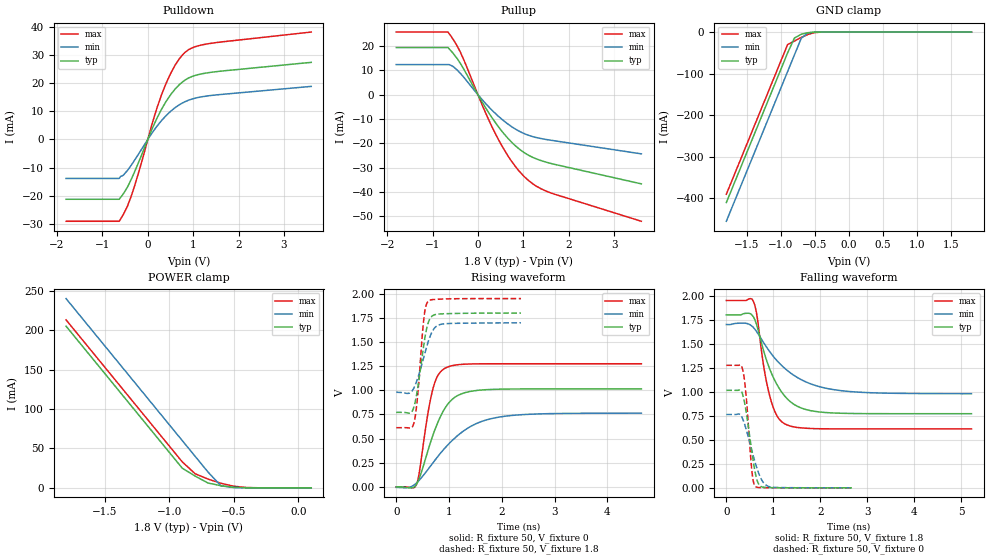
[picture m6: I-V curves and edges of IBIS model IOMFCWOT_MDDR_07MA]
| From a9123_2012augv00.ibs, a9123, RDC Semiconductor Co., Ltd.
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[Model]   IOMFCWOT_MDDR_07MA
|   IOMFCWOT_MDDR_07MA  MODEL
|   DATE   :  2009/1/14 ;
|   REVISION :  0.1.1 ;
|   Model generated   Wed Jan 14 11:39:08 2009
Model_type  3-state
Polarity   Non-Inverting
Enable   Active-Low
| Signals
Vmeas = 0.9
| variable   typ   min   max
C_comp   1.282pF   1.197pF   1.399pF
[Model Spec]
|   Subparameter   typ   min   max
Vmeas   0.900   0.850   0.975
[Temperature Range]   25   125   -40
|   typ   min   max
[Voltage Range]   1.8V   1.7V   1.95V
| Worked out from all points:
|   slope of the pulldown table from 0 to 0.27 V, typ, clamps not added: 27.8 ohm
|   slope of the pullup table from 0 to 0.27 V, typ, clamps not added: 32.4 ohm
|   GND clamp passes 1 mA (typ) near -0.56 V on its own axis
|   POWER clamp passes 1 mA (typ) near -0.51 V on its own axis
|   rising waveform, R_fixture 50, V_fixture 0: 20-80 % time 415ps typ, 803ps min, 232ps max; typ from 0 V to 1.01 V
|   falling waveform, R_fixture 50, V_fixture 1.8: 20-80 % time 505ps typ, 865ps min, 285ps max; typ from 1.8 V to 0.772 V
|   rising waveform, R_fixture 50, V_fixture 1.8: 20-80 % time 167ps typ, 233ps min, 118ps max; typ from 0.772 V to 1.8 V
|   falling waveform, R_fixture 50, V_fixture 0: 20-80 % time 183ps typ, 266ps min, 120ps max; typ from 1.01 V to 0 V
[Pulldown]
|   Voltage   I(typ)   I(min)   I(max)
-1.8V     -21.3mA    -13.89mA   -29.13mA
-630mV    -21.3mA    -13.89mA   -29.13mA
-450mV    -17.02mA   -11.11mA   -23.83mA
-330mV    -12.96mA   -8.356mA   -18.52mA
120mV     4.665mA    2.896mA    6.911mA
300mV     10.67mA    6.664mA    15.76mA
420mV     13.92mA    8.735mA    20.55mA
600mV     17.89mA    11.29mA    26.38mA
810mV     21.01mA    13.35mA    30.83mA
990mV     22.48mA    14.45mA    32.66mA
1.32V     23.7mA     15.48mA    34.01mA
3.6V      27.42mA    18.87mA    38.2mA
[GND Clamp]
|   Voltage   I(typ)   I(min)   I(max)
-1.8V     -410mA     -455mA     -390mA
-900mV    -50mA      -95mA      -30mA
-800mV    -14.5mA    -55mA      -21.7mA
-700mV    -5.32mA    -15mA      -12.9mA
-600mV    -1.53mA    -2.04mA    -5.7mA
-500mV    -195uA     -140uA     -1.26mA
-400mV    -13.4uA    -9.78uA    -88.4uA
1.8V      0A         0A         0A
[Pullup]
|   Voltage   I(typ)   I(min)   I(max)
|( VDD-Vmeas )
-1.8V     19.39mA    12.38mA    25.75mA
-660mV    19.39mA    12.38mA    25.75mA
-540mV    16.86mA    11.5mA     22.55mA
-390mV    12.93mA    8.83mA     17.61mA
180mV     -5.682mA   -3.821mA   -7.937mA
510mV     -14.57mA   -9.807mA   -20.39mA
690mV     -18.49mA   -12.44mA   -25.93mA
900mV     -22.15mA   -14.9mA    -31.23mA
1.2V      -25.66mA   -17.17mA   -36.51mA
1.41V     -27.18mA   -18.08mA   -38.83mA
1.62V     -28.3mA    -18.74mA   -40.46mA
3.6V      -36.63mA   -24.3mA    -52mA
[POWER Clamp]
|   Voltage   I(typ)   I(min)   I(max)
|( VDD-Vmeas )
-1.8V     205mA      240mA      213mA
-900mV    25mA       60mA       33mA
-800mV    14.9mA     40mA       17.9mA
-700mV    6.09mA     20mA       11.1mA
-600mV    2.68mA     2.56mA     5.76mA
-500mV    731uA      316uA      2.06mA
-400mV    105uA      45.9uA     387uA
100mV     0A         0A         0A
[Rising Waveform]
R_fixture = 50
V_fixture = 0
V_fixture_min = 0
V_fixture_max = 0
C_fixture = 0
L_fixture = 0
|   Time   V(typ)   V(min)   V(max)
0s        147.8uV    -5.05mV    -3.182uV
378ps     21.47mV    37.27mV    17.81mV
432ps     82.05mV    66.8mV     130.7mV
594ps     362.6mV    175.3mV    739.7mV
702ps     545.6mV    253.5mV    1.028V
810ps     695mV      329.1mV    1.171V
945ps     832.9mV    415.6mV    1.235V
1.242ns   965mV      565.6mV    1.269V
1.917ns   1.011V     720mV      1.275V
4.644ns   1.015V     763.4mV    1.275V
[Falling Waveform]
R_fixture = 50
V_fixture = 1.8
V_fixture_min = 1.7
V_fixture_max = 1.95
C_fixture = 0
L_fixture = 0
|   Time   V(typ)   V(min)   V(max)
0s        1.8V       1.7V       1.95V
576ps     1.779V     1.669V     1.941V
640ps     1.705V     1.629V     1.827V
800ps     1.415V     1.506V     1.249V
928ps     1.231V     1.414V     948mV
1.088ns   1.066V     1.318V     740.5mV
1.248ns   952.1mV    1.242V     665mV
1.664ns   819.3mV    1.109V     621.3mV
2.4ns     776.9mV    1.014V     613.5mV
5.216ns   771.6mV    979.8mV    613.2mV
[Rising Waveform]
R_fixture = 50
V_fixture = 1.8
V_fixture_min = 1.7
V_fixture_max = 1.95
C_fixture = 0
L_fixture = 0
|   Time   V(typ)   V(min)   V(max)
0s        771.7mV    979.9mV    613.3mV
264ps     764.8mV    975.7mV    608.9mV
336ps     829.6mV    1.026V     663mV
396ps     985.8mV    1.108V     888.6mV
528ps     1.489V     1.354V     1.765V
564ps     1.606V     1.425V     1.876V
600ps     1.689V     1.493V     1.92V
708ps     1.779V     1.632V     1.941V
852ps     1.792V     1.684V     1.945V
2.364ns   1.8V       1.699V     1.95V
[Falling Waveform]
R_fixture = 50
V_fixture = 0
V_fixture_min = 0
V_fixture_max = 0
C_fixture = 0
L_fixture = 0
|   Time   V(typ)   V(min)   V(max)
0s        1.015V     763.5mV    1.275V
299ps     1.018V     759.3mV    1.281V
351ps     965.6mV    713.9mV    1.223V
416ps     808.6mV    618.9mV    985.7mV
546ps     363.1mV    382.1mV    164.4mV
585ps     238.4mV    311.7mV    46.35mV
624ps     135.7mV    246.2mV    12.3mV
728ps     16.38mV    105.1mV    2.761mV
929.5ps   2.323mV    10.22mV    966.8uV
2.672ns   9.45uV     124.7uV    214.1nV
[Ramp]
| variables   typ   min   max
dV/dt_r   0.60894/414.595p 0.458093/801.017p 0.76518/231.504p
dV/dt_f   0.617058/504.742p 0.43221/865.382p 0.80205/284.233p
R_load   = 50.000000 | Ohms
| [End Model]
